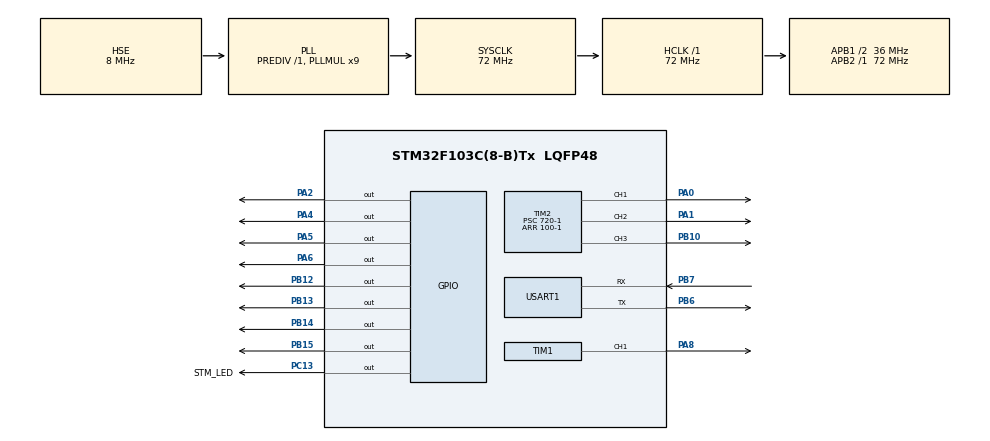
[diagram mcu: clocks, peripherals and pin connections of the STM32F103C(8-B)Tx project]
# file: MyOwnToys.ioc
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Mcu.Family=STM32F1
Mcu.Name=STM32F103C(8-B)Tx
Mcu.Package=LQFP48
NVIC.PriorityGroup=NVIC_PRIORITYGROUP_4
NVIC.TIM3_IRQn=true\:0\:0\:false\:false\:true\:true\:true\:true
NVIC.USART1_IRQn=true\:4\:0\:true\:false\:true\:true\:true\:true
PA0-WKUP.Signal=S_TIM2_CH1_ETR
PA1.Signal=S_TIM2_CH2
PA13.Mode=Serial_Wire
PA13.Signal=SYS_JTMS-SWDIO
PA14.Mode=Serial_Wire
PA14.Signal=SYS_JTCK-SWCLK
PA2.PinState=GPIO_PIN_SET
PA2.Signal=GPIO_Output
PA4.PinState=GPIO_PIN_SET
PA4.Signal=GPIO_Output
PA5.PinState=GPIO_PIN_SET
PA5.Signal=GPIO_Output
PA6.PinState=GPIO_PIN_SET
PA6.Signal=GPIO_Output
PA8.Signal=S_TIM1_CH1
PB10.Signal=S_TIM2_CH3
PB12.Signal=GPIO_Output
PB13.Signal=GPIO_Output
PB14.Signal=GPIO_Output
PB15.Signal=GPIO_Output
PB6.Mode=Asynchronous
PB6.Signal=USART1_TX
PB7.Mode=Asynchronous
PB7.Signal=USART1_RX
PC13-TAMPER-RTC.GPIO_Label=STM_LED
PC13-TAMPER-RTC.PinState=GPIO_PIN_SET
PC13-TAMPER-RTC.Signal=GPIO_Output
PD0-OSC_IN.Mode=HSE-External-Oscillator
PD0-OSC_IN.Signal=RCC_OSC_IN
PD1-OSC_OUT.Mode=HSE-External-Oscillator
PD1-OSC_OUT.Signal=RCC_OSC_OUT
ProjectManager.HeapSize=0x200
ProjectManager.StackSize=0x400
ProjectManager.TargetToolchain=STM32CubeIDE
RCC.AHBFreq_Value=72000000
RCC.APB1CLKDivider=RCC_HCLK_DIV2
RCC.APB1Freq_Value=36000000
RCC.APB1TimFreq_Value=72000000
RCC.APB2Freq_Value=72000000
RCC.APB2TimFreq_Value=72000000
RCC.HCLKFreq_Value=72000000
RCC.PLLMUL=RCC_PLL_MUL9
RCC.PLLSourceVirtual=RCC_PLLSOURCE_HSE
RCC.SYSCLKFreq_VALUE=72000000
RCC.SYSCLKSource=RCC_SYSCLKSOURCE_PLLCLK
RCC.USBFreq_Value=72000000
SH.S_TIM1_CH1.0=TIM1_CH1,PWM Generation1 CH1
SH.S_TIM2_CH1_ETR.0=TIM2_CH1,PWM Generation1 CH1
SH.S_TIM2_CH2.0=TIM2_CH2,PWM Generation2 CH2
SH.S_TIM2_CH3.0=TIM2_CH3,PWM Generation3 CH3
TIM1.Channel-PWM\ Generation1\ CH1=TIM_CHANNEL_1
TIM1.Period=100-1
TIM1.Prescaler=720-1
TIM2.Channel-PWM\ Generation1\ CH1=TIM_CHANNEL_1
TIM2.Channel-PWM\ Generation2\ CH2=TIM_CHANNEL_2
TIM2.Channel-PWM\ Generation3\ CH3=TIM_CHANNEL_3
TIM2.OCMode_PWM-PWM\ Generation2\ CH2=TIM_OCMODE_PWM1
TIM2.OCPolarity_1=TIM_OCPOLARITY_LOW
TIM2.Period=100-1
TIM2.Prescaler=720-1
TIM2.Pulse-PWM\ Generation2\ CH2=1
TIM2.Pulse-PWM\ Generation3\ CH3=0
TIM3.Period=2000-1
TIM3.Prescaler=7200-1
USART1.VirtualMode=VM_ASYNC
VP_TIM1_VS_ClockSourceINT.Mode=Internal
VP_TIM2_VS_ClockSourceINT.Mode=Internal
VP_TIM3_VS_ClockSourceINT.Mode=Internal
board=custom

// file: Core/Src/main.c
/* USER CODE BEGIN Header */
/**
  ******************************************************************************
  * @file           : main.c
  * @brief          : Main program body
  ******************************************************************************
  * @attention
  *
  * Copyright (c) 2026 STMicroelectronics.
  * All rights reserved.
  *
  * This software is licensed under terms that can be found in the LICENSE file
  * in the root directory of this software component.
  * If no LICENSE file comes with this software, it is provided AS-IS.
  *
  ******************************************************************************
  */
/* USER CODE END Header */
#include "main.h"

TIM_HandleTypeDef htim1;
TIM_HandleTypeDef htim2;
TIM_HandleTypeDef htim3;

UART_HandleTypeDef huart1;

/* USER CODE BEGIN PV */

#define RX_BUF_SIZE 256
uint8_t rx_buf[RX_BUF_SIZE];
volatile uint8_t rx_index = 0;

volatile uint8_t send_up_flag = 0;

float led_brightness = 0.0f;
uint8_t led_switch_state = 0;   // 0=关, 1=开

/* 用于逐字节接收的全局变量（生命周期与程序相同） */
volatile uint8_t rx_byte;

/* USER CODE END PV */

void SystemClock_Config(void);
static void MX_GPIO_Init(void);
static void MX_TIM2_Init(void);
static void MX_USART1_UART_Init(void);
static void MX_TIM1_Init(void);
static void MX_TIM3_Init(void);

/* USER CODE BEGIN 0 */

/* ---------- 协议常量 ---------- */
#define FRAME_HEADER_1  0x5A
#define FRAME_HEADER_2  0xA5
#define CMD_LED_SWITCH  0x01
#define CMD_LED_BRIGHT  0x02
#define ACTION_OFF      0x00
#define ACTION_ON       0x01
#define ACTION_TOGGLE   0x02

/* 下行帧数据字节数（不含 Checksum） */
#define DOWN_DATA_LEN_SWITCH   4   // H2+H1+Cmd+Action
#define DOWN_DATA_LEN_BRIGHT   7   // H2+H1+Cmd+Float(4)

/* ---------- 状态机定义 ---------- */
typedef enum {
    STATE_WAIT_H1,
    STATE_WAIT_H2,
    STATE_WAIT_CMD,
    STATE_WAIT_DATA,
    STATE_WAIT_CHECKSUM
} ParserState_t;

static ParserState_t parser_state = STATE_WAIT_H1;
static uint8_t frame_buf[8];    // 最大帧长度 = 8 字节（亮度命令）
static uint8_t frame_idx = 0;
static uint8_t required_data_len = 0;   // 还须接收的有效数据字节数
static uint8_t current_cmd = 0;

/* ---------- 校验和计算 ---------- */
static uint8_t calc_checksum(const uint8_t *data, uint8_t len) {
    uint32_t sum = 0;
    for (uint8_t i = 0; i < len; i++) {
        sum += data[i];
    }
    return (uint8_t)(sum & 0xFF);
}

/* ---------- PWM 更新函数 ---------- */
void set_led_brightness(float brightness) {
    if (brightness < 0.0f) brightness = 0.0f;
    if (brightness > 1.0f) brightness = 1.0f;

    /* 占空比 0~99 映射到 0% ~ 100% (ARR = 99) */
    uint16_t pulse = (uint16_t)(brightness * 100.0f + 0.5f);
    if (pulse > 99) pulse = 99;

    __HAL_TIM_SET_COMPARE(&htim1, TIM_CHANNEL_1, pulse);
}

/* ---------- 逐字节解析（状态机） ---------- */
void protocol_parse_byte(uint8_t byte) {
    switch (parser_state) {
        case STATE_WAIT_H1:
            if (byte == FRAME_HEADER_1) {
                frame_buf[0] = byte;
                parser_state = STATE_WAIT_H2;
            }
            // 否则丢弃
            break;

        case STATE_WAIT_H2:
            if (byte == FRAME_HEADER_2) {
                frame_buf[1] = byte;
                parser_state = STATE_WAIT_CMD;
            } else if (byte == FRAME_HEADER_1) {
                // 再次出现 0x5A，保持本状态，相当于重新同步
                frame_buf[0] = byte;
            } else {
                // 不匹配，完全复位
                parser_state = STATE_WAIT_H1;
            }
            break;

        case STATE_WAIT_CMD:
            current_cmd = byte;
            frame_buf[2] = byte;
            if (current_cmd == CMD_LED_SWITCH) {
                required_data_len = 1;
            } else if (current_cmd == CMD_LED_BRIGHT) {
                required_data_len = 4;
            } else {
                // 非法命令，复位
                parser_state = STATE_WAIT_H1;
                break;
            }
            frame_idx = 0;
            parser_state = STATE_WAIT_DATA;
            break;

        case STATE_WAIT_DATA:
            frame_buf[3 + frame_idx] = byte;
            frame_idx++;
            if (frame_idx >= required_data_len) {
                parser_state = STATE_WAIT_CHECKSUM;
            }
            break;

        case STATE_WAIT_CHECKSUM:
        {
            uint8_t received_cs = byte;
            uint8_t data_len = 3 + required_data_len;   // Header2 + Cmd1 + Data
            uint8_t calc_cs = calc_checksum(frame_buf, data_len);

            if (calc_cs == received_cs) {
                // 校验通过，执行命令
                if (current_cmd == CMD_LED_SWITCH) {
                    uint8_t action = frame_buf[3];
                    if (action == ACTION_OFF) {
                        led_switch_state = 0;
                        led_brightness = 0.0f;
                    } else if (action == ACTION_ON) {
                        led_switch_state = 1;
                        led_brightness = 1.0f;
                    } else if (action == ACTION_TOGGLE) {
                        led_switch_state = !led_switch_state;
                        led_brightness = led_switch_state ? 1.0f : 0.0f;
                    }
                    if (led_switch_state)
                        set_led_brightness(led_brightness);
                    else
                        __HAL_TIM_SET_COMPARE(&htim1, TIM_CHANNEL_1, 0);

                } else if (current_cmd == CMD_LED_BRIGHT) {
                    // 小端 IEEE 754 浮点
                    uint32_t raw;
                    memcpy(&raw, &frame_buf[3], 4);
                    led_brightness = *(float*)&raw;
                    set_led_brightness(led_brightness);
                }
            }
            // 无论校验是否通过，都复位状态机（主动丢弃脏帧）
            parser_state = STATE_WAIT_H1;
            break;
        }
    }
}

/* ---------- 串口接收中断回调（修正版） ---------- */
void HAL_UART_RxCpltCallback(UART_HandleTypeDef *huart) {
    if (huart->Instance == USART1) {
        // 每次接收完成后，rx_byte 中已存放接收到的字节
        // 将字节送入协议解析器
        protocol_parse_byte(rx_byte);

        // 重新启动下一次接收（必须使用全局变量 rx_byte）
        HAL_UART_Receive_IT(&huart1, (uint8_t*)&rx_byte, 1);
    }
}

/* ---------- 错误回调（保持基本清晰） ---------- */
void HAL_UART_ErrorCallback(UART_HandleTypeDef *huart) {
    if (huart->Instance == USART1) {
        __HAL_UART_CLEAR_OREFLAG(huart);
        __HAL_UART_CLEAR_NEFLAG(huart);
        __HAL_UART_CLEAR_FEFLAG(huart);
        __HAL_UART_CLEAR_PEFLAG(huart);

        // 重新启动接收
        HAL_UART_Receive_IT(&huart1, (uint8_t*)&rx_byte, 1);
    }
}

/* ---------- 上行帧发送 ---------- */
void send_uplink_frame(void) {
    uint8_t frame[4];
    frame[0] = FRAME_HEADER_1;
    frame[1] = FRAME_HEADER_2;

    GPIO_PinState pin_state = HAL_GPIO_ReadPin(GPIOB, GPIO_PIN_12);
    frame[2] = (pin_state == GPIO_PIN_SET) ? 0x01 : 0x00;

    frame[3] = calc_checksum(frame, 3);
    HAL_UART_Transmit(&huart1, frame, 4, 100);
}

/* ---------- 定时器中断回调（5 Hz 发送上行） ---------- */
void HAL_TIM_PeriodElapsedCallback(TIM_HandleTypeDef *htim) {
    if (htim->Instance == TIM3) {
        send_up_flag = 1;
    }
}

/* USER CODE END 0 */

int main(void)
{

  /* MCU Configuration--------------------------------------------------------*/

  /* Reset of all peripherals, Initializes the Flash interface and the Systick. */
  HAL_Init();

  /* Configure the system clock */
  SystemClock_Config();

  /* Initialize all configured peripherals */
  MX_GPIO_Init();
  MX_TIM2_Init();
  MX_USART1_UART_Init();
  MX_TIM1_Init();
  MX_TIM3_Init();
  /* USER CODE BEGIN 2 */

  HAL_UART_Receive_IT(&huart1, (uint8_t*)&rx_byte, 1);

   HAL_TIM_Base_Start_IT(&htim3);        // 启动 5 Hz 定时器
   HAL_TIM_PWM_Start(&htim1, TIM_CHANNEL_1);

   // 初始状态：关闭 LED
   __HAL_TIM_SET_COMPARE(&htim1, TIM_CHANNEL_1, 0);
   HAL_GPIO_WritePin(STM_LED_GPIO_Port, STM_LED_Pin, GPIO_PIN_SET);

  //HAL_GPIO_WritePin(STM_LED_GPIO_Port, STM_LED_Pin, GPIO_PIN_SET);
  //__HAL_TIM_SET_COMPARE(&htim1, TIM_CHANNEL_1, 25);

  /* USER CODE END 2 */

  /* Infinite loop */
  /* USER CODE BEGIN WHILE */
  while (1)
  {
	  // 定时上报上行帧
	        if (send_up_flag) {
	            send_up_flag = 0;
	            send_uplink_frame();
	        }

    /* USER CODE END WHILE */

  }
}

void SystemClock_Config(void)
{
  RCC_OscInitTypeDef RCC_OscInitStruct = {0};
  RCC_ClkInitTypeDef RCC_ClkInitStruct = {0};

  /** Initializes the RCC Oscillators according to the specified parameters
  * in the RCC_OscInitTypeDef structure.
  */
  RCC_OscInitStruct.OscillatorType = RCC_OSCILLATORTYPE_HSE;
  RCC_OscInitStruct.HSEState = RCC_HSE_ON;
  RCC_OscInitStruct.HSEPredivValue = RCC_HSE_PREDIV_DIV1;
  RCC_OscInitStruct.HSIState = RCC_HSI_ON;
  RCC_OscInitStruct.PLL.PLLState = RCC_PLL_ON;
  RCC_OscInitStruct.PLL.PLLSource = RCC_PLLSOURCE_HSE;
  RCC_OscInitStruct.PLL.PLLMUL = RCC_PLL_MUL9;
  if (HAL_RCC_OscConfig(&RCC_OscInitStruct) != HAL_OK)
  {
    Error_Handler();
  }

  /** Initializes the CPU, AHB and APB buses clocks
  */
  RCC_ClkInitStruct.ClockType = RCC_CLOCKTYPE_HCLK|RCC_CLOCKTYPE_SYSCLK
                              |RCC_CLOCKTYPE_PCLK1|RCC_CLOCKTYPE_PCLK2;
  RCC_ClkInitStruct.SYSCLKSource = RCC_SYSCLKSOURCE_PLLCLK;
  RCC_ClkInitStruct.AHBCLKDivider = RCC_SYSCLK_DIV1;
  RCC_ClkInitStruct.APB1CLKDivider = RCC_HCLK_DIV2;
  RCC_ClkInitStruct.APB2CLKDivider = RCC_HCLK_DIV1;

  if (HAL_RCC_ClockConfig(&RCC_ClkInitStruct, FLASH_LATENCY_2) != HAL_OK)
  {
    Error_Handler();
  }
}

static void MX_TIM1_Init(void)
{

  TIM_ClockConfigTypeDef sClockSourceConfig = {0};
  TIM_MasterConfigTypeDef sMasterConfig = {0};
  TIM_OC_InitTypeDef sConfigOC = {0};
  TIM_BreakDeadTimeConfigTypeDef sBreakDeadTimeConfig = {0};

  htim1.Instance = TIM1;
  htim1.Init.Prescaler = 720-1;
  htim1.Init.CounterMode = TIM_COUNTERMODE_UP;
  htim1.Init.Period = 100-1;
  htim1.Init.ClockDivision = TIM_CLOCKDIVISION_DIV1;
  htim1.Init.RepetitionCounter = 0;
  htim1.Init.AutoReloadPreload = TIM_AUTORELOAD_PRELOAD_DISABLE;
  if (HAL_TIM_Base_Init(&htim1) != HAL_OK)
  {
    Error_Handler();
  }
  sClockSourceConfig.ClockSource = TIM_CLOCKSOURCE_INTERNAL;
  if (HAL_TIM_ConfigClockSource(&htim1, &sClockSourceConfig) != HAL_OK)
  {
    Error_Handler();
  }
  if (HAL_TIM_PWM_Init(&htim1) != HAL_OK)
  {
    Error_Handler();
  }
  sMasterConfig.MasterOutputTrigger = TIM_TRGO_RESET;
  sMasterConfig.MasterSlaveMode = TIM_MASTERSLAVEMODE_DISABLE;
  if (HAL_TIMEx_MasterConfigSynchronization(&htim1, &sMasterConfig) != HAL_OK)
  {
    Error_Handler();
  }
  sConfigOC.OCMode = TIM_OCMODE_PWM1;
  sConfigOC.Pulse = 0;
  sConfigOC.OCPolarity = TIM_OCPOLARITY_HIGH;
  sConfigOC.OCNPolarity = TIM_OCNPOLARITY_HIGH;
  sConfigOC.OCFastMode = TIM_OCFAST_DISABLE;
  sConfigOC.OCIdleState = TIM_OCIDLESTATE_RESET;
  sConfigOC.OCNIdleState = TIM_OCNIDLESTATE_RESET;
  if (HAL_TIM_PWM_ConfigChannel(&htim1, &sConfigOC, TIM_CHANNEL_1) != HAL_OK)
  {
    Error_Handler();
  }
  sBreakDeadTimeConfig.OffStateRunMode = TIM_OSSR_DISABLE;
  sBreakDeadTimeConfig.OffStateIDLEMode = TIM_OSSI_DISABLE;
  sBreakDeadTimeConfig.LockLevel = TIM_LOCKLEVEL_OFF;
  sBreakDeadTimeConfig.DeadTime = 0;
  sBreakDeadTimeConfig.BreakState = TIM_BREAK_DISABLE;
  sBreakDeadTimeConfig.BreakPolarity = TIM_BREAKPOLARITY_HIGH;
  sBreakDeadTimeConfig.AutomaticOutput = TIM_AUTOMATICOUTPUT_DISABLE;
  if (HAL_TIMEx_ConfigBreakDeadTime(&htim1, &sBreakDeadTimeConfig) != HAL_OK)
  {
    Error_Handler();
  }
  HAL_TIM_MspPostInit(&htim1);

}

static void MX_TIM2_Init(void)
{

  TIM_ClockConfigTypeDef sClockSourceConfig = {0};
  TIM_MasterConfigTypeDef sMasterConfig = {0};
  TIM_OC_InitTypeDef sConfigOC = {0};

  htim2.Instance = TIM2;
  htim2.Init.Prescaler = 720-1;
  htim2.Init.CounterMode = TIM_COUNTERMODE_UP;
  htim2.Init.Period = 100-1;
  htim2.Init.ClockDivision = TIM_CLOCKDIVISION_DIV1;
  htim2.Init.AutoReloadPreload = TIM_AUTORELOAD_PRELOAD_DISABLE;
  if (HAL_TIM_Base_Init(&htim2) != HAL_OK)
  {
    Error_Handler();
  }
  sClockSourceConfig.ClockSource = TIM_CLOCKSOURCE_INTERNAL;
  if (HAL_TIM_ConfigClockSource(&htim2, &sClockSourceConfig) != HAL_OK)
  {
    Error_Handler();
  }
  if (HAL_TIM_PWM_Init(&htim2) != HAL_OK)
  {
    Error_Handler();
  }
  sMasterConfig.MasterOutputTrigger = TIM_TRGO_RESET;
  sMasterConfig.MasterSlaveMode = TIM_MASTERSLAVEMODE_DISABLE;
  if (HAL_TIMEx_MasterConfigSynchronization(&htim2, &sMasterConfig) != HAL_OK)
  {
    Error_Handler();
  }
  sConfigOC.OCMode = TIM_OCMODE_PWM1;
  sConfigOC.Pulse = 0;
  sConfigOC.OCPolarity = TIM_OCPOLARITY_LOW;
  sConfigOC.OCFastMode = TIM_OCFAST_DISABLE;
  if (HAL_TIM_PWM_ConfigChannel(&htim2, &sConfigOC, TIM_CHANNEL_1) != HAL_OK)
  {
    Error_Handler();
  }
  sConfigOC.Pulse = 1;
  sConfigOC.OCPolarity = TIM_OCPOLARITY_HIGH;
  if (HAL_TIM_PWM_ConfigChannel(&htim2, &sConfigOC, TIM_CHANNEL_2) != HAL_OK)
  {
    Error_Handler();
  }
  sConfigOC.Pulse = 0;
  if (HAL_TIM_PWM_ConfigChannel(&htim2, &sConfigOC, TIM_CHANNEL_3) != HAL_OK)
  {
    Error_Handler();
  }
  HAL_TIM_MspPostInit(&htim2);

}

static void MX_TIM3_Init(void)
{

  TIM_ClockConfigTypeDef sClockSourceConfig = {0};
  TIM_MasterConfigTypeDef sMasterConfig = {0};

  htim3.Instance = TIM3;
  htim3.Init.Prescaler = 7200-1;
  htim3.Init.CounterMode = TIM_COUNTERMODE_UP;
  htim3.Init.Period = 2000-1;
  htim3.Init.ClockDivision = TIM_CLOCKDIVISION_DIV1;
  htim3.Init.AutoReloadPreload = TIM_AUTORELOAD_PRELOAD_DISABLE;
  if (HAL_TIM_Base_Init(&htim3) != HAL_OK)
  {
    Error_Handler();
  }
  sClockSourceConfig.ClockSource = TIM_CLOCKSOURCE_INTERNAL;
  if (HAL_TIM_ConfigClockSource(&htim3, &sClockSourceConfig) != HAL_OK)
  {
    Error_Handler();
  }
  sMasterConfig.MasterOutputTrigger = TIM_TRGO_RESET;
  sMasterConfig.MasterSlaveMode = TIM_MASTERSLAVEMODE_DISABLE;
  if (HAL_TIMEx_MasterConfigSynchronization(&htim3, &sMasterConfig) != HAL_OK)
  {
    Error_Handler();
  }

}

static void MX_USART1_UART_Init(void)
{

  huart1.Instance = USART1;
  huart1.Init.BaudRate = 115200;
  huart1.Init.WordLength = UART_WORDLENGTH_8B;
  huart1.Init.StopBits = UART_STOPBITS_1;
  huart1.Init.Parity = UART_PARITY_NONE;
  huart1.Init.Mode = UART_MODE_TX_RX;
  huart1.Init.HwFlowCtl = UART_HWCONTROL_NONE;
  huart1.Init.OverSampling = UART_OVERSAMPLING_16;
  if (HAL_UART_Init(&huart1) != HAL_OK)
  {
    Error_Handler();
  }

}

static void MX_GPIO_Init(void)
{
  GPIO_InitTypeDef GPIO_InitStruct = {0};

  /* GPIO Ports Clock Enable */
  __HAL_RCC_GPIOC_CLK_ENABLE();
  __HAL_RCC_GPIOD_CLK_ENABLE();
  __HAL_RCC_GPIOA_CLK_ENABLE();
  __HAL_RCC_GPIOB_CLK_ENABLE();

  /*Configure GPIO pin Output Level */
  HAL_GPIO_WritePin(STM_LED_GPIO_Port, STM_LED_Pin, GPIO_PIN_SET);

  /*Configure GPIO pin Output Level */
  HAL_GPIO_WritePin(GPIOA, GPIO_PIN_2|GPIO_PIN_4|GPIO_PIN_5|GPIO_PIN_6, GPIO_PIN_SET);

  /*Configure GPIO pin Output Level */
  HAL_GPIO_WritePin(GPIOB, GPIO_PIN_12|GPIO_PIN_13|GPIO_PIN_14|GPIO_PIN_15, GPIO_PIN_RESET);

  /*Configure GPIO pin : STM_LED_Pin */
  GPIO_InitStruct.Pin = STM_LED_Pin;
  GPIO_InitStruct.Mode = GPIO_MODE_OUTPUT_PP;
  GPIO_InitStruct.Pull = GPIO_NOPULL;
  GPIO_InitStruct.Speed = GPIO_SPEED_FREQ_LOW;
  HAL_GPIO_Init(STM_LED_GPIO_Port, &GPIO_InitStruct);

  /*Configure GPIO pins : PA2 PA4 PA5 PA6 */
  GPIO_InitStruct.Pin = GPIO_PIN_2|GPIO_PIN_4|GPIO_PIN_5|GPIO_PIN_6;
  GPIO_InitStruct.Mode = GPIO_MODE_OUTPUT_PP;
  GPIO_InitStruct.Pull = GPIO_NOPULL;
  GPIO_InitStruct.Speed = GPIO_SPEED_FREQ_LOW;
  HAL_GPIO_Init(GPIOA, &GPIO_InitStruct);

  /*Configure GPIO pins : PB12 PB13 PB14 PB15 */
  GPIO_InitStruct.Pin = GPIO_PIN_12|GPIO_PIN_13|GPIO_PIN_14|GPIO_PIN_15;
  GPIO_InitStruct.Mode = GPIO_MODE_OUTPUT_PP;
  GPIO_InitStruct.Pull = GPIO_NOPULL;
  GPIO_InitStruct.Speed = GPIO_SPEED_FREQ_LOW;
  HAL_GPIO_Init(GPIOB, &GPIO_InitStruct);

}

void Error_Handler(void)
{
  __disable_irq();
  while (1)
  {
  }
}
